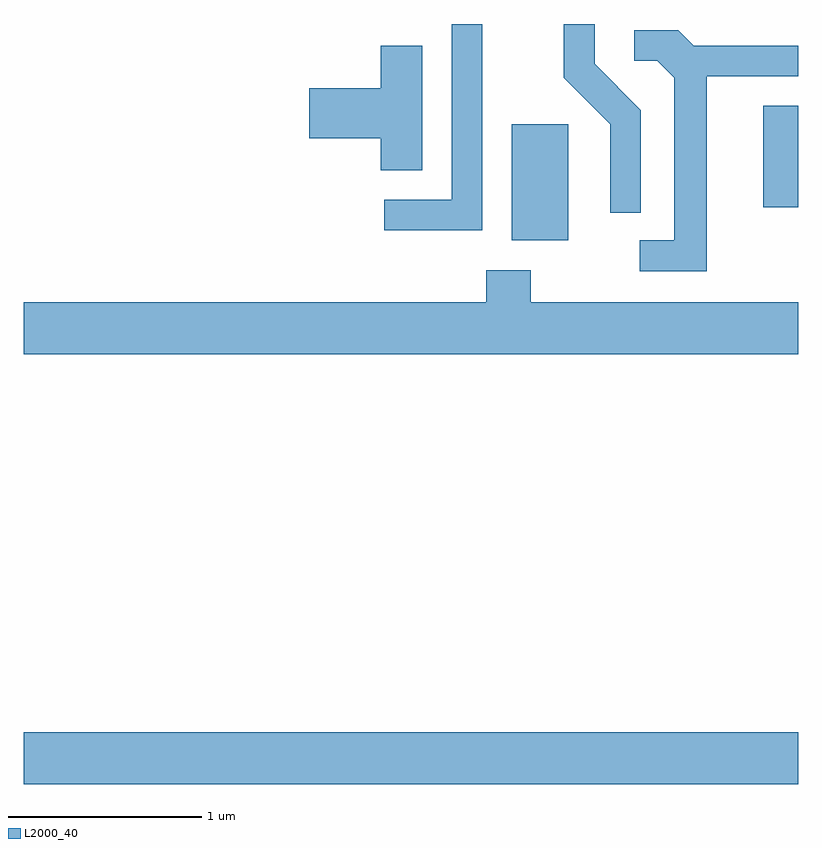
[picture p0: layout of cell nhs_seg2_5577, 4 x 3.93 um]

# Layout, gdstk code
import gdstk
lib = gdstk.Library(unit=1e-6, precision=1e-09)
def R(c, l, rs):  # rectangles x0, y0, x1, y1
    for r in rs: c.add(gdstk.rectangle(r[:2], r[2:], *l))
def P(c, l, *ps):  # polygons
    for p in ps: c.add(gdstk.Polygon(p, *l))
L2000_40 = (2000, 40)

nhs_seg2_5577 = lib.new_cell('nhs_seg2_5577')
R(nhs_seg2_5577, L2000_40, [(349.611,1043.876,353.611,1044.144), (352.131,1046.686,352.424,1047.284), (353.431,1046.856,353.611,1047.379)])
P(nhs_seg2_5577, L2000_40, [(351.979,1047.802),(351.821,1047.802),(351.821,1046.894),(351.473,1046.894),(351.473,1046.736),(351.979,1046.736)],
  [(352.799,1047.357),(352.559,1047.597),(352.559,1047.802),(352.401,1047.802),(352.401,1047.524),(352.641,1047.284),(352.641,1046.828),(352.799,1046.828)],
  [(353.139,1047.531),(353.611,1047.531),(353.611,1047.689),(353.072,1047.689),(352.992,1047.769),(352.763,1047.769),(352.763,1047.611),(352.884,1047.611),(352.971,1047.524),(352.971,1046.684),(352.793,1046.684),(352.793,1046.526),(353.139,1046.526)],
  [(351.669,1047.689),(351.456,1047.689),(351.456,1047.469),(351.086,1047.469),(351.086,1047.211),(351.456,1047.211),(351.456,1047.046),(351.669,1047.046)],
  [(353.611,1046.364),(352.229,1046.364),(352.229,1046.529),(352.001,1046.529),(352.001,1046.364),(349.611,1046.364),(349.611,1046.096),(353.611,1046.096)])

lib.write_gds('nhs_seg2_5577.gds')
